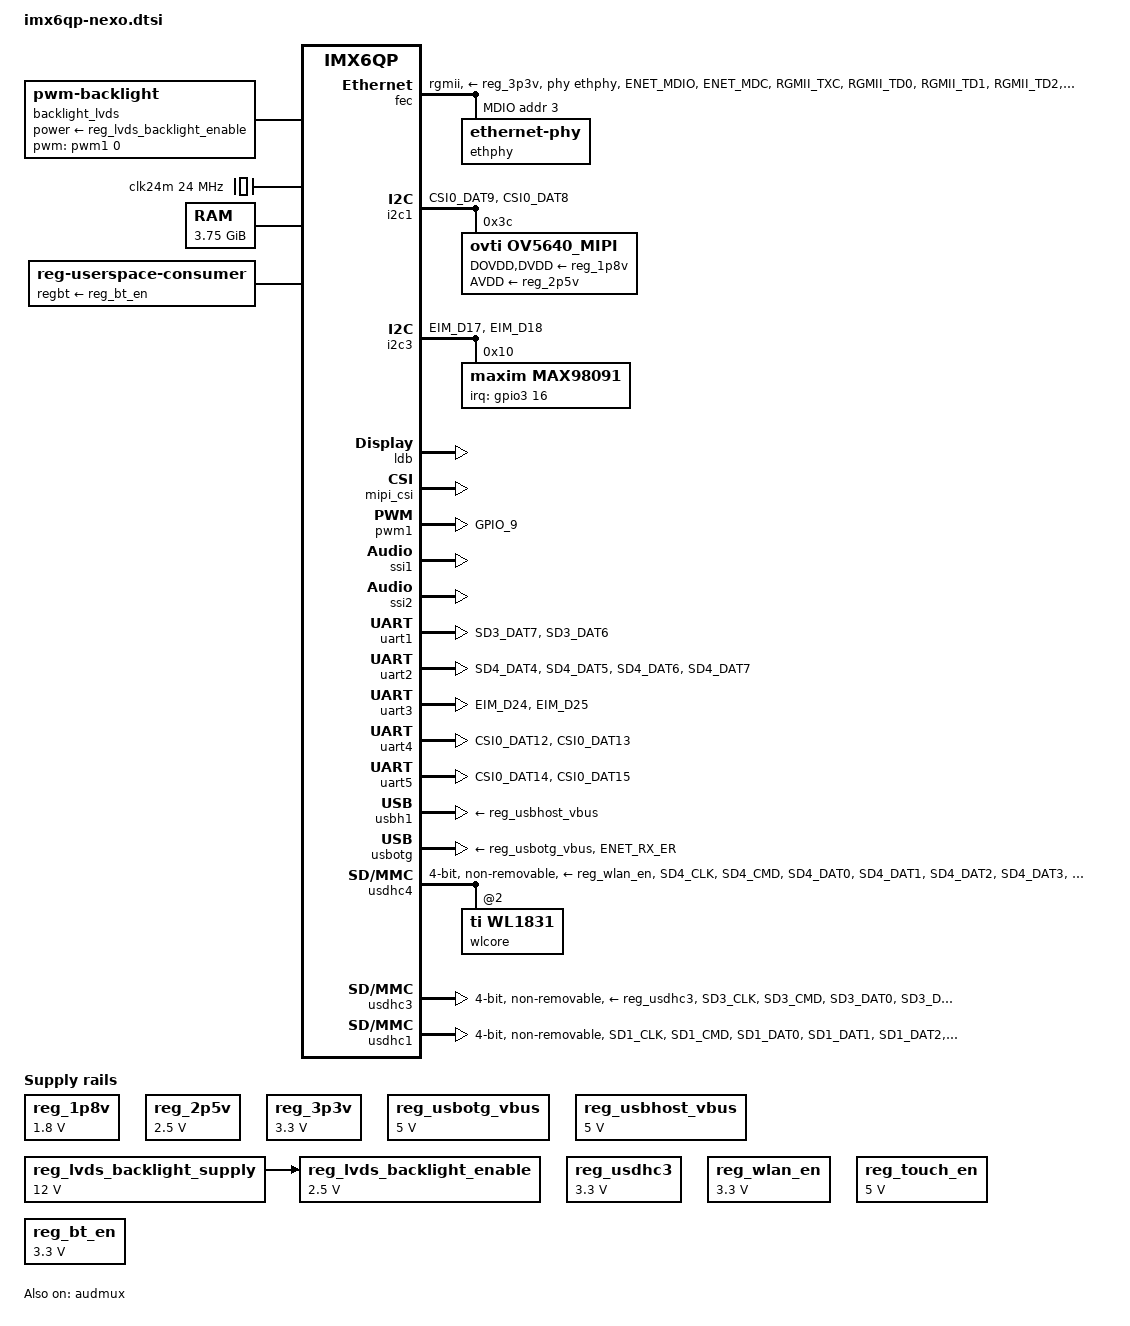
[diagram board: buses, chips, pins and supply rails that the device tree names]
/*
 * Copyright 2015 Boundary Devices, Inc.
 * Copyright 2012 Freescale Semiconductor, Inc.
 * Copyright 2011 Linaro Ltd.
 *
 * The code contained herein is licensed under the GNU General Public
 * License. You may obtain a copy of the GNU General Public License
 * Version 2 or later at the following locations:
 *
 * http://www.opensource.org/licenses/gpl-license.html
 * http://www.gnu.org/copyleft/gpl.html
 */
#include <dt-bindings/gpio/gpio.h>
#include <dt-bindings/input/input.h>

#define PAD_CTL_HYS                     (0x10000)

#define PAD_CTL_PUS_100K_DOWN           (0x00000)
#define PAD_CTL_PUS_47K_UP              (0x04000)
#define PAD_CTL_PUS_100K_UP             (0x08000)
#define PAD_CTL_PUS_22K_UP              (0x0C000)

#define PAD_CTL_PUE                     (0x02000)
#define PAD_CTL_PKE                     (0x01000)
#define PAD_CTL_ODE                     (0x00800)

#define PAD_CTL_SPEED_LOW               (0x00040)
#define PAD_CTL_SPEED_MED               (0x00080)
#define PAD_CTL_SPEED_HIGH              (0x000C0)

#define PAD_CTL_DSE_DISABLE             (0x00000)
#define PAD_CTL_DSE_240ohm              (0x00008)
#define PAD_CTL_DSE_120ohm              (0x00010)
#define PAD_CTL_DSE_80ohm               (0x00018)
#define PAD_CTL_DSE_60ohm               (0x00020)
#define PAD_CTL_DSE_48ohm               (0x00028)
#define PAD_CTL_DSE_40ohm               (0x00030)
#define PAD_CTL_DSE_34ohm               (0x00038)

#define PAD_CTL_SRE_FAST                (0x00001)
#define PAD_CTL_SRE_SLOW                (0x00000)


// 0x17059
#define PAD_MODE_LOWSPEED_47k \
(PAD_CTL_SRE_FAST | PAD_CTL_DSE_80ohm | PAD_CTL_SPEED_LOW | PAD_CTL_PKE | PAD_CTL_PUE | PAD_CTL_PUS_47K_UP | PAD_CTL_HYS)

// 0x170B9
#define PAD_MODE_MEDSPEED_47k \
(PAD_CTL_SRE_FAST | PAD_CTL_DSE_34ohm | PAD_CTL_SPEED_MED | PAD_CTL_PKE | PAD_CTL_PUE | PAD_CTL_PUS_47K_UP | PAD_CTL_HYS)

// 0x170F9
#define PAD_MODE_HIGHSPEED_47k \
(PAD_CTL_SRE_FAST | PAD_CTL_DSE_34ohm | PAD_CTL_SPEED_HIGH | PAD_CTL_PKE | PAD_CTL_PUE | PAD_CTL_PUS_47K_UP | PAD_CTL_HYS)

// 0x1b0b1
#define PAD_MODE_MEDSPEED_100k \
(PAD_CTL_SRE_FAST | PAD_CTL_DSE_40ohm | PAD_CTL_SPEED_MED | PAD_CTL_PKE | PAD_CTL_PUE | PAD_CTL_PUS_100K_UP | PAD_CTL_HYS)

// 0x1b0b0
#define PAD_MODE_MEDSPEED_100k_SLOW \
(PAD_CTL_SRE_SLOW | PAD_CTL_DSE_40ohm | PAD_CTL_SPEED_MED | PAD_CTL_PKE | PAD_CTL_PUE | PAD_CTL_PUS_100K_UP | PAD_CTL_HYS)

// 0x130b0
#define PAD_MODE_MEDSPEED_100kDOWN_SLOW \
(PAD_CTL_SRE_SLOW | PAD_CTL_DSE_40ohm | PAD_CTL_SPEED_MED | PAD_CTL_PKE | PAD_CTL_PUE | PAD_CTL_PUS_100K_DOWN | PAD_CTL_HYS)



// 0x10059
#define PAD_MODE_LOWSPEED \
(PAD_CTL_SRE_FAST | PAD_CTL_DSE_80ohm | PAD_CTL_SPEED_LOW | PAD_CTL_HYS)

// 0x100B9
#define PAD_MODE_MEDSPEED \
(PAD_CTL_SRE_FAST | PAD_CTL_DSE_34ohm | PAD_CTL_SPEED_MED | PAD_CTL_HYS)

// 0x100F9
#define PAD_MODE_HIGHSPEED \
(PAD_CTL_SRE_FAST | PAD_CTL_DSE_34ohm | PAD_CTL_SPEED_HIGH | PAD_CTL_HYS)



#define PAD_MODE_USDHC_50mhz_CLK   PAD_MODE_LOWSPEED
#define PAD_MODE_USDHC_50mhz       PAD_MODE_LOWSPEED_47k
#define PAD_MODE_USDHC_100mhz_CLK  PAD_MODE_MEDSPEED
#define PAD_MODE_USDHC_100mhz      PAD_MODE_MEDSPEED_47k
#define PAD_MODE_USDHC_200mhz_CLK  PAD_MODE_HIGHSPEED
#define PAD_MODE_USDHC_200mhz      PAD_MODE_HIGHSPEED_47k

#define PAD_MODE_UART              PAD_MODE_MEDSPEED_100k

&iomuxc {
	pinctrl-names = "default";
	pinctrl-0 = <&pinctrl_hog>;

	iomuxc_imx6q_nitrogen6_max: iomuxc-imx6q-nitrogen6-maxgrp {
		status = "okay";
	};
};

&iomuxc_imx6q_nitrogen6_max {
	pinctrl_audmux_i2s4: i2s4grp {
		fsl,pins = <
			MX6QDL_PAD_SD2_DAT3__AUD4_TXC		PAD_MODE_MEDSPEED_100kDOWN_SLOW
			MX6QDL_PAD_SD2_DAT2__AUD4_TXD		PAD_MODE_MEDSPEED_100k_SLOW
			MX6QDL_PAD_SD2_DAT1__AUD4_TXFS		PAD_MODE_MEDSPEED_100kDOWN_SLOW
			MX6QDL_PAD_SD2_DAT0__AUD4_RXD		PAD_MODE_MEDSPEED_100kDOWN_SLOW
		>;
	};

	pinctrl_i2c3_max98091: i2c3grp {
		fsl,pins = <
			MX6QDL_PAD_GPIO_0__CCM_CLKO1		(PAD_CTL_SRE_FAST | PAD_CTL_DSE_34ohm | PAD_CTL_SPEED_LOW)
		>;
	};

	pinctrl_bt_rfkill: bt-rfkillgrp {
		fsl,pins = <
#define GP_BT_RFKILL_RESET	<&gpio2 4 GPIO_ACTIVE_LOW>
			MX6QDL_PAD_NANDF_D4__GPIO2_IO04		PAD_MODE_MEDSPEED_100kDOWN_SLOW
		>;
	};

	pinctrl_enet: enetgrp {
		fsl,pins = <
			MX6QDL_PAD_ENET_MDIO__ENET_MDIO		PAD_MODE_MEDSPEED_100k_SLOW
			MX6QDL_PAD_ENET_MDC__ENET_MDC		PAD_MODE_MEDSPEED_100k_SLOW
			MX6QDL_PAD_RGMII_TXC__RGMII_TXC		PAD_MODE_MEDSPEED_100kDOWN_SLOW
			MX6QDL_PAD_RGMII_TD0__RGMII_TD0		PAD_MODE_MEDSPEED_100kDOWN_SLOW
			MX6QDL_PAD_RGMII_TD1__RGMII_TD1		PAD_MODE_MEDSPEED_100kDOWN_SLOW
			MX6QDL_PAD_RGMII_TD2__RGMII_TD2		PAD_MODE_MEDSPEED_100kDOWN_SLOW
			MX6QDL_PAD_RGMII_TD3__RGMII_TD3		PAD_MODE_MEDSPEED_100kDOWN_SLOW
			MX6QDL_PAD_RGMII_TX_CTL__RGMII_TX_CTL	PAD_MODE_MEDSPEED_100kDOWN_SLOW
			MX6QDL_PAD_ENET_REF_CLK__ENET_TX_CLK	PAD_MODE_MEDSPEED_100kDOWN_SLOW
			MX6QDL_PAD_RGMII_RXC__RGMII_RXC		PAD_MODE_MEDSPEED_100k_SLOW
			MX6QDL_PAD_RGMII_RD0__RGMII_RD0		PAD_MODE_MEDSPEED_100k_SLOW
			MX6QDL_PAD_RGMII_RD1__RGMII_RD1		PAD_MODE_MEDSPEED_100k_SLOW
			MX6QDL_PAD_RGMII_RD2__RGMII_RD2		PAD_MODE_MEDSPEED_100k_SLOW
			MX6QDL_PAD_RGMII_RD3__RGMII_RD3		PAD_MODE_MEDSPEED_100k_SLOW
			MX6QDL_PAD_RGMII_RX_CTL__RGMII_RX_CTL	PAD_MODE_MEDSPEED_100k_SLOW
#define GP_ENET_PHY_RESET	<&gpio1 25 GPIO_ACTIVE_LOW>
			MX6QDL_PAD_ENET_CRS_DV__GPIO1_IO25	PAD_MODE_MEDSPEED_100kDOWN_SLOW
#define GPIRQ_ENET_PHY		<&gpio1 28 IRQ_TYPE_LEVEL_LOW>
			MX6QDL_PAD_ENET_TX_EN__GPIO1_IO28	PAD_MODE_MEDSPEED_100k_SLOW
// #define GPIRQ_ENET		<&gpio1 6 IRQ_TYPE_LEVEL_HIGH>
// 			MX6QDL_PAD_GPIO_6__ENET_IRQ		0x000b1
		>;
	};

	pinctrl_i2c1: i2c1grp {
		fsl,pins = <
			MX6QDL_PAD_CSI0_DAT9__I2C1_SCL		0x4001b8b1
			MX6QDL_PAD_CSI0_DAT8__I2C1_SDA		0x4001b8b1
		>;
	};

	pinctrl_i2c1_gpio: i2c1_1grp {
		fsl,pins = <
#define GP_I2C1_SCL <&gpio5 27 GPIO_ACTIVE_HIGH>
			MX6QDL_PAD_CSI0_DAT9__GPIO5_IO27		0x4001b8b1
#define GP_I2C1_SDA <&gpio5 26 GPIO_ACTIVE_HIGH>
			MX6QDL_PAD_CSI0_DAT8__GPIO5_IO26		0x4001b8b1
		>;
	};

//	max98091_irq: max98091-irq {
//		fsl,pins  = <
//			MX6QDL_PAD_EIM_D16__I2C2_SDA		0x000b1 //0x1b0b0
//		>;
//	};

	pinctrl_i2c1_ov5640_gpio: i2c1-ov5640-gpiogrp {
		fsl,pins = <
#define GP_OV5640_MIPI_POWER_DOWN	<&gpio3 10 GPIO_ACTIVE_HIGH>
			MX6QDL_PAD_EIM_DA10__GPIO3_IO10		PAD_MODE_MEDSPEED_100k_SLOW
#define GP_OV5640_MIPI_RESET		<&gpio3 9 GPIO_ACTIVE_LOW>
			MX6QDL_PAD_EIM_DA9__GPIO3_IO09		PAD_MODE_MEDSPEED_100kDOWN_SLOW
		>;
	};

	pinctrl_i2c3: i2c3grp {
		fsl,pins = <
			MX6QDL_PAD_EIM_D17__I2C3_SCL		0x4001b8b1
			MX6QDL_PAD_EIM_D18__I2C3_SDA		0x4001b8b1
		>;
	};

	pinctrl_i2c3_gpio: i2c3_1grp {
		fsl,pins = <
#define GP_I2C3_SCL <&gpio3 17 GPIO_ACTIVE_HIGH>
			MX6QDL_PAD_EIM_D17__GPIO3_IO17		0x4001b8b1
#define GP_I2C3_SDA  <&gpio3 18 GPIO_ACTIVE_HIGH>
			MX6QDL_PAD_EIM_D18__GPIO3_IO18		0x4001b8b1
		>;
	};

	pinctrl_pwm1: pwm1grp {
		fsl,pins = <
			MX6QDL_PAD_GPIO_9__PWM1_OUT		PAD_MODE_MEDSPEED_100k
		>;
	};

	pinctrl_24mclk: 24mclk-clockgrp {
		fsl,pins = <
			MX6QDL_PAD_GPIO_3__XTALOSC_REF_CLK_24M		PAD_MODE_MEDSPEED_100k
		>;
	};

	pinctrl_reg_usbotg_vbus: reg-usbotg-vbusgrp {
		fsl,pins = <
#define GP_REG_USBOTG_ENABLE	<&gpio4 14 GPIO_ACTIVE_HIGH>
			MX6QDL_PAD_KEY_COL4__GPIO4_IO14		PAD_MODE_MEDSPEED_100kDOWN_SLOW
		>;
	};

	pinctrl_reg_usbhost_vbus: reg-usbotg-hostgrp {
		fsl,pins = <
#define GP_REG_USBHOST_ENABLE	<&gpio3 31 GPIO_ACTIVE_HIGH>
			MX6QDL_PAD_EIM_D31__GPIO3_IO31		PAD_MODE_MEDSPEED_100kDOWN_SLOW
		>;
	};

	pinctrl_reg_lvds_backlight_supply: reg-lvds-backlight_supplygrp {
		fsl,pins = <
#define GP_REG_LVDS_LED_SUPPLY	<&gpio2 31 GPIO_ACTIVE_HIGH>
			MX6QDL_PAD_EIM_EB3__GPIO2_IO31		PAD_MODE_MEDSPEED_100kDOWN_SLOW
		>;
	};

	pinctrl_reg_lvds_backlight_enable: reg-lvds-backlight_enablegrp {
		fsl,pins = <
#define GP_REG_LVDS_LED_ENABLE	<&gpio1 5 GPIO_ACTIVE_LOW>
			MX6QDL_PAD_GPIO_5__GPIO1_IO05		PAD_MODE_MEDSPEED_100kDOWN_SLOW
		>;
	};

	// this is the group that is always 'active'
	pinctrl_hog: hoggrp {
//		fsl,pins = <
//		>;
	};

	pinctrl_reg_sd3: reg-sd3-grp {
		fsl,pins = <
#define GP_SD3_RESET	<&gpio7 8 GPIO_ACTIVE_HIGH>
			MX6QDL_PAD_SD3_RST__GPIO7_IO08	PAD_MODE_MEDSPEED_100kDOWN_SLOW
		>;
	};

	pinctrl_reg_touch_en: reg-touch-grp {
		fsl,pins = <
#define GP_REG_TOUCH_EN	<&gpio4 26 GPIO_ACTIVE_LOW>
			MX6QDL_PAD_DISP0_DAT5__GPIO4_IO26	PAD_MODE_MEDSPEED_100kDOWN_SLOW
		>;
	};

	pinctrl_reg_wlan_en: reg-wlan-grp {
		fsl,pins = <
#define GP_REG_WLAN_EN	<&gpio6 8 GPIO_ACTIVE_HIGH>
			MX6QDL_PAD_NANDF_ALE__GPIO6_IO08	PAD_MODE_MEDSPEED_100kDOWN_SLOW
		>;
	};

	pinctrl_reg_bt_en: reg-bt-grp {
		fsl,pins = <
#define GP_REG_BT_EN	<&gpio2 5 GPIO_ACTIVE_HIGH>
			MX6QDL_PAD_NANDF_D5__GPIO2_IO05		PAD_MODE_MEDSPEED_100kDOWN_SLOW
		>;
	};

	pinctrl_uart1: uart1grp {
		fsl,pins = <
			MX6QDL_PAD_SD3_DAT7__UART1_TX_DATA	PAD_MODE_UART
			MX6QDL_PAD_SD3_DAT6__UART1_RX_DATA	PAD_MODE_UART
		>;
	};

	pinctrl_uart2: uart2grp {
		fsl,pins = <
			MX6QDL_PAD_SD4_DAT4__UART2_RX_DATA	PAD_MODE_UART
			MX6QDL_PAD_SD4_DAT5__UART2_RTS_B	PAD_MODE_UART
			MX6QDL_PAD_SD4_DAT6__UART2_CTS_B	PAD_MODE_UART
			MX6QDL_PAD_SD4_DAT7__UART2_TX_DATA	PAD_MODE_UART
		>;
	};

	pinctrl_uart3: uart3grp {
		fsl,pins = <
			MX6QDL_PAD_EIM_D24__UART3_TX_DATA	PAD_MODE_UART
			MX6QDL_PAD_EIM_D25__UART3_RX_DATA	PAD_MODE_UART
		>;
	};
	
	pinctrl_uart4: uart4grp {
		fsl,pins = <
			MX6QDL_PAD_CSI0_DAT12__UART4_TX_DATA	PAD_MODE_UART
			MX6QDL_PAD_CSI0_DAT13__UART4_RX_DATA	PAD_MODE_UART
		>;
	};

	pinctrl_uart5: uart5grp {
		fsl,pins = <
			MX6QDL_PAD_CSI0_DAT14__UART5_TX_DATA	PAD_MODE_UART
			MX6QDL_PAD_CSI0_DAT15__UART5_RX_DATA	PAD_MODE_UART
		>;
	};

	pinctrl_usbotg: usbotggrp {
		fsl,pins = <
			MX6QDL_PAD_ENET_RX_ER__USB_OTG_ID		PAD_MODE_LOWSPEED_47k
		>;
	};

	pinctrl_usdhc4_50mhz: usdhc4grp {
		fsl,pins = <
			MX6QDL_PAD_SD4_CLK__SD4_CLK		PAD_MODE_USDHC_50mhz_CLK
			MX6QDL_PAD_SD4_CMD__SD4_CMD		PAD_MODE_USDHC_50mhz
			MX6QDL_PAD_SD4_DAT0__SD4_DATA0		PAD_MODE_USDHC_50mhz
			MX6QDL_PAD_SD4_DAT1__SD4_DATA1		PAD_MODE_USDHC_50mhz
			MX6QDL_PAD_SD4_DAT2__SD4_DATA2		PAD_MODE_USDHC_50mhz
			MX6QDL_PAD_SD4_DAT3__SD4_DATA3		PAD_MODE_USDHC_50mhz

			MX6QDL_PAD_ENET_RXD0__OSC32K_32K_OUT	0x000b0		/* slow clock */
#define GPIRQ_CBM283	<&gpio2 0 IRQ_TYPE_LEVEL_HIGH>
			MX6QDL_PAD_NANDF_D0__GPIO2_IO00	0x100b0
		>;
	};

	pinctrl_usdhc4_100mhz: usdhc4grp-100mhz {
		fsl,pins = <
			MX6QDL_PAD_SD4_CLK__SD4_CLK		PAD_MODE_USDHC_100mhz_CLK
			MX6QDL_PAD_SD4_CMD__SD4_CMD		PAD_MODE_USDHC_100mhz
			MX6QDL_PAD_SD4_DAT0__SD4_DATA0		PAD_MODE_USDHC_100mhz
			MX6QDL_PAD_SD4_DAT1__SD4_DATA1 		PAD_MODE_USDHC_100mhz
			MX6QDL_PAD_SD4_DAT2__SD4_DATA2 		PAD_MODE_USDHC_100mhz
			MX6QDL_PAD_SD4_DAT3__SD4_DATA3 		PAD_MODE_USDHC_100mhz
		>;
	};

	pinctrl_usdhc4_200mhz: usdhc4grp-200mhz {
		fsl,pins = <
			MX6QDL_PAD_SD4_CLK__SD4_CLK		PAD_MODE_USDHC_200mhz_CLK
			MX6QDL_PAD_SD4_CMD__SD4_CMD		PAD_MODE_USDHC_200mhz
			MX6QDL_PAD_SD4_DAT0__SD4_DATA0		PAD_MODE_USDHC_200mhz
			MX6QDL_PAD_SD4_DAT1__SD4_DATA1		PAD_MODE_USDHC_200mhz
			MX6QDL_PAD_SD4_DAT2__SD4_DATA2		PAD_MODE_USDHC_200mhz
			MX6QDL_PAD_SD4_DAT3__SD4_DATA3		PAD_MODE_USDHC_200mhz
		>;
	};

	pinctrl_usdhc3_50mhz: usdhc3grp-50mhz {
		fsl,pins = <
			MX6QDL_PAD_SD3_CLK__SD3_CLK		PAD_MODE_USDHC_50mhz_CLK
			MX6QDL_PAD_SD3_CMD__SD3_CMD		PAD_MODE_USDHC_50mhz
			MX6QDL_PAD_SD3_DAT0__SD3_DATA0		PAD_MODE_USDHC_50mhz
			MX6QDL_PAD_SD3_DAT1__SD3_DATA1		PAD_MODE_USDHC_50mhz
			MX6QDL_PAD_SD3_DAT2__SD3_DATA2		PAD_MODE_USDHC_50mhz
			MX6QDL_PAD_SD3_DAT3__SD3_DATA3		PAD_MODE_USDHC_50mhz
			MX6QDL_PAD_NANDF_CS1__SD3_VSELECT	0x100b0		/* sd3 voltage select */
		>;
	};

	pinctrl_usdhc3_100mhz: usdhc3grp-100mhz {
		fsl,pins = <
			MX6QDL_PAD_SD3_CLK__SD3_CLK		PAD_MODE_USDHC_100mhz_CLK
			MX6QDL_PAD_SD3_CMD__SD3_CMD		PAD_MODE_USDHC_100mhz
			MX6QDL_PAD_SD3_DAT0__SD3_DATA0		PAD_MODE_USDHC_100mhz
			MX6QDL_PAD_SD3_DAT1__SD3_DATA1		PAD_MODE_USDHC_100mhz
			MX6QDL_PAD_SD3_DAT2__SD3_DATA2		PAD_MODE_USDHC_100mhz
			MX6QDL_PAD_SD3_DAT3__SD3_DATA3		PAD_MODE_USDHC_100mhz
		>;
	};

	pinctrl_usdhc3_200mhz: usdhc3grp-200mhz {
		fsl,pins = <
			MX6QDL_PAD_SD3_CLK__SD3_CLK		PAD_MODE_USDHC_200mhz_CLK
			MX6QDL_PAD_SD3_CMD__SD3_CMD		PAD_MODE_USDHC_200mhz
			MX6QDL_PAD_SD3_DAT0__SD3_DATA0		PAD_MODE_USDHC_200mhz
			MX6QDL_PAD_SD3_DAT1__SD3_DATA1		PAD_MODE_USDHC_200mhz
			MX6QDL_PAD_SD3_DAT2__SD3_DATA2		PAD_MODE_USDHC_200mhz
			MX6QDL_PAD_SD3_DAT3__SD3_DATA3		PAD_MODE_USDHC_200mhz
		>;
	};

	pinctrl_usdhc1_50mhz: usdhc1grp_50mhz {
		fsl,pins = <
			MX6QDL_PAD_SD1_CLK__SD1_CLK		PAD_MODE_USDHC_50mhz_CLK
			MX6QDL_PAD_SD1_CMD__SD1_CMD		PAD_MODE_USDHC_50mhz
			MX6QDL_PAD_SD1_DAT0__SD1_DATA0		PAD_MODE_USDHC_50mhz
			MX6QDL_PAD_SD1_DAT1__SD1_DATA1		PAD_MODE_USDHC_50mhz
			MX6QDL_PAD_SD1_DAT2__SD1_DATA2		PAD_MODE_USDHC_50mhz
			MX6QDL_PAD_SD1_DAT3__SD1_DATA3		PAD_MODE_USDHC_50mhz
			MX6QDL_PAD_KEY_COL1__SD1_VSELECT	0x100b0		/* sd1 voltage select */
		>;
	};
	
		pinctrl_usdhc1_100mhz: usdhc1grp-100mhz {
		fsl,pins = <
			MX6QDL_PAD_SD1_CLK__SD1_CLK		PAD_MODE_USDHC_100mhz_CLK
			MX6QDL_PAD_SD1_CMD__SD1_CMD		PAD_MODE_USDHC_100mhz
			MX6QDL_PAD_SD1_DAT0__SD1_DATA0		PAD_MODE_USDHC_100mhz
			MX6QDL_PAD_SD1_DAT1__SD1_DATA1		PAD_MODE_USDHC_100mhz
			MX6QDL_PAD_SD1_DAT2__SD1_DATA2		PAD_MODE_USDHC_100mhz
			MX6QDL_PAD_SD1_DAT3__SD1_DATA3		PAD_MODE_USDHC_100mhz
		>;
	};

	pinctrl_usdhc1_200mhz: usdhc1grp-200mhz {
		fsl,pins = <
			MX6QDL_PAD_SD1_CLK__SD1_CLK		PAD_MODE_USDHC_200mhz_CLK
			MX6QDL_PAD_SD1_CMD__SD1_CMD		PAD_MODE_USDHC_200mhz
			MX6QDL_PAD_SD1_DAT0__SD1_DATA0		PAD_MODE_USDHC_200mhz
			MX6QDL_PAD_SD1_DAT1__SD1_DATA1		PAD_MODE_USDHC_200mhz
			MX6QDL_PAD_SD1_DAT2__SD1_DATA2		PAD_MODE_USDHC_200mhz
			MX6QDL_PAD_SD1_DAT3__SD1_DATA3		PAD_MODE_USDHC_200mhz
		>;
	};
};

/ {
	aliases {
		backlight_lvds = &backlight_lvds;
		bt_rfkill = &bt_rfkill;
		bt_kim = &bt_kim;
		fb_lvds = &fb_lvds;
		fb_lvds2 = &fb_lvds2;
		ldb = &ldb;
		mmc0 = &usdhc3;
		mmc1 = &usdhc1;
 		mmc2 = &usdhc4;
		mxcfb1 = &fb_lvds;
		mxcfb3 = &fb_lvds2;
		pwm_lvds = &pwm1;
		t_lvds = &t_lvds;
		t_lvds2 = &t_lvds2;
	};

	backlight_lvds: backlight_lvds {
		compatible = "pwm-backlight";
		brightness-levels = <0 1 2 6 12 20 30 45 60 80 100 120 150 180 215 255>;
		default-brightness-level = <12>;
		display = <&fb_lvds>;
		pwms = <&pwm1 0 5000000>;
		power-supply = <&reg_lvds_backlight_enable>;
	};


	btwilink {
		compatible = "btwilink";
	};

	bt_kim: bt_kim {
		compatible = "kim";
		pinctrl-names = "default";
		pinctrl-0 = <&pinctrl_bt_rfkill>;
		nshutdown_gpio = GP_BT_RFKILL_RESET;
		dev_name = "/dev/ttymxc1";
		flow_cntrl = <1>;
		baud_rate = <3000000>;
		status = "okay";
	};

	bt_rfkill: bt_rfkill {
		compatible = "net,rfkill-gpio";
		pinctrl-names = "default";
		pinctrl-0 = <&pinctrl_bt_rfkill>;
		name = "bt_rfkill";
		type = <2>;	/* bluetooth */
		reset-gpios = GP_BT_RFKILL_RESET;
		status = "disabled";
	};

	caam_keyblob {
		compatible = "fsl,sec-v4.0-keyblob";
	};

	clocks {
		clk24m: clk24m {
			compatible = "fixed-clock";
			#clock-cells = <0>;
			clock-frequency = <24000000>;
		};
	};

	fake_poweroff {
		compatible = "fake-poweroff";
// gpio that will wake us up -- not sure if we have anything available... maybe proximity sensor?
// 		gpios = <&gpio2 3 GPIO_ACTIVE_LOW>;
		watchdog = <&wdog1>;
	};

	fb_lvds: fb@0 {
		compatible = "fsl,mxc_sdc_fb";
		disp_dev = "ldb";
		interface_pix_fmt = "RGB24";
		default_bpp = <24>;
		int_clk = <0>;
		late_init = <0>;
		status = "okay";
	};

	fb_lvds2: fb@2 {
		compatible = "fsl,mxc_sdc_fb";
		disp_dev = "ldb";
		interface_pix_fmt = "RGB24";
		default_bpp = <24>;
		int_clk = <0>;
		late_init = <0>;
		status = "disabled";
	};


// 	gpio-keys {
// 		compatible = "gpio-keys";
// 		pinctrl-names = "default";
// 		pinctrl-0 = <&pinctrl_gpio_keys>;
// 		power {
// 			label = "Power Button";
// 			gpios = GP_GPIOKEY_POWER;
// 			linux,code = <KEY_POWER>;	/* or KEY_SEARCH */
// 			gpio-key,wakeup;
// 		};
// 	};

	memory {
		reg = <0x10000000 0xeffffc00>;
	};

	ramoops_device {
		compatible = "fsl,mxc_ramoops";
		record_size = <524288>; /*512K*/
		console_size = <262144>; /*256K*/
		ftrace_size = <262144>;  /*256K*/
		dump_oops = <1>;
		status = "okay";
	};

	regulators {
		compatible = "simple-bus";
		#address-cells = <1>;
		#size-cells = <0>;

		reg_1p8v: regulator@0 {
			compatible = "regulator-fixed";
			reg = <0>;
			regulator-name = "1P8V";
			regulator-min-microvolt = <1800000>;
			regulator-max-microvolt = <1800000>;
			regulator-always-on;
		};

		reg_2p5v: regulator@1 {
			compatible = "regulator-fixed";
			reg = <1>;
			regulator-name = "2P5V";
			regulator-min-microvolt = <2500000>;
			regulator-max-microvolt = <2500000>;
			regulator-always-on;
		};

		reg_3p3v: regulator@2 {
			compatible = "regulator-fixed";
			reg = <2>;
			regulator-name = "3P3V";
			regulator-min-microvolt = <3300000>;
			regulator-max-microvolt = <3300000>;
			regulator-always-on;
		};

		reg_usbotg_vbus: regulator@3 {
			compatible = "regulator-fixed";
			reg = <3>;
			pinctrl-names = "default";
			pinctrl-0 = <&pinctrl_reg_usbotg_vbus>;
			regulator-name = "usb_otg_vbus";
			regulator-min-microvolt = <5000000>;
			regulator-max-microvolt = <5000000>;
			gpio = GP_REG_USBOTG_ENABLE;
			enable-active-high;
		};

		reg_usbhost_vbus: regulator@4 {
			compatible = "regulator-fixed";
			reg = <4>;
			pinctrl-names = "default";
			pinctrl-0 = <&pinctrl_reg_usbhost_vbus>;
			regulator-name = "usb_host_vbus";
			regulator-min-microvolt = <5000000>;
			regulator-max-microvolt = <5000000>;
			gpio = GP_REG_USBHOST_ENABLE;
			enable-active-high;
		};

		reg_lvds_backlight_supply: regulator@5 {
			compatible = "regulator-fixed";
			reg = <5>;
			pinctrl-names = "default";
			pinctrl-0 = <&pinctrl_reg_lvds_backlight_supply>;
			regulator-name = "lvds_backlight_supply";
			regulator-min-microvolt = <12000000>;
			regulator-max-microvolt = <12000000>;
			gpio = GP_REG_LVDS_LED_SUPPLY;
			enable-active-high;
			startup-delay-us = <1000000>;
		};

		reg_lvds_backlight_enable: regulator@6 {
			compatible = "regulator-fixed";
			reg = <6>;
			pinctrl-names = "default";
			pinctrl-0 = <&pinctrl_reg_lvds_backlight_enable>;
			regulator-name = "lvds_backlight_enable";
			regulator-min-microvolt = <2500000>;
			regulator-max-microvolt = <2500000>;
			gpio = GP_REG_LVDS_LED_ENABLE;
			enable-active-high;
			vin-supply = <&reg_lvds_backlight_supply>;
		};

		reg_usdhc3: regulator@7 {
			compatible = "regulator-fixed";
			reg = <7>;
			regulator-name = "usdhc3_regulator";
			regulator-min-microvolt = <3300000>;
			regulator-max-microvolt = <3300000>;
			enable-active-high;
			pinctrl-names = "default";
			pinctrl-0 = <&pinctrl_reg_sd3>;
			gpio = GP_SD3_RESET;
		};

		reg_wlan_en: regulator@8 {
			compatible = "regulator-fixed";
			reg = <8>;
			pinctrl-names = "default";
			pinctrl-0 = <&pinctrl_reg_wlan_en>;
			regulator-name = "wlan-en";
			regulator-min-microvolt = <3300000>;
			regulator-max-microvolt = <3300000>;
			gpio = GP_REG_WLAN_EN;
			startup-delay-us = <70000>;
			enable-active-high;
		};

		reg_touch_en: regulator@9 {
			compatible = "regulator-fixed";
			reg = <9>;
			pinctrl-names = "default";
			pinctrl-0 = <&pinctrl_reg_touch_en>;
			regulator-name = "touch-en";
			regulator-min-microvolt = <5000000>;
			regulator-max-microvolt = <5000000>;
			gpio = GP_REG_TOUCH_EN;
			regulator-always-on;
		};

		reg_bt_en: regulator@10 {
			compatible = "regulator-fixed";
			reg = <10>;
			pinctrl-names = "default";
			pinctrl-0 = <&pinctrl_reg_bt_en>;
			regulator-name = "bt-en";
			regulator-min-microvolt = <3300000>;
			regulator-max-microvolt = <3300000>;
			gpio = GP_REG_BT_EN;
			enable-active-high;
			regulator-always-on;
		};
	};

// dummy device for testing regulators
	userspace-consumer {
		compatible = "reg-userspace-consumer";
		regulator-name = "nazgee-consumer";
		regulator-supplies = "regbt";
		regulator-boot-on;
		status = "okay";

		regbt-supply = <&reg_bt_en>;
	};

	sound-asoc {
		compatible = "fsl,imx-audio-max98091";
		model = "max98091-audio";
		ssi-controller = <&ssi1>;
		audio-codec = <&max98091>;
		audio-routing =
			"Headphone Jack", "HP_OUT";
		mux-int-port = <1>;
		mux-ext-port = <4>;
	};

	v4l2_cap_0 {
		compatible = "fsl,imx6q-v4l2-capture";
		ipu_id = <0>;
		csi_id = <0>;
		mclk_source = <0>;
		status = "disabled";
	};

	v4l2_cap_1: v4l2_cap_1 {
		compatible = "fsl,imx6q-v4l2-capture";
		ipu_id = <0>;
		csi_id = <1>;
		mipi_camera = <1>;
		mclk_source = <0>;
		status = "okay";
	};

	v4l2_cap_2: v4l2_cap_2 {
		compatible = "fsl,imx6q-v4l2-capture";
		ipu_id = <0>;
		csi_id = <1>;
		mclk_source = <0>;
		status = "disabled";
	};

	v4l2_cap_3: v4l2_cap_3 {
		compatible = "fsl,imx6q-v4l2-capture";
		ipu_id = <0>;
		csi_id = <0>;
		mipi_camera = <1>;
		mclk_source = <0>;
		status = "disabled";
	};

	v4l2_out {
		compatible = "fsl,mxc_v4l2_output";
		status = "okay";
	};
};

&audmux {
	pinctrl-names = "default";
	pinctrl-0 = <&pinctrl_audmux_i2s4>;
	status = "okay";
};

&fec {
	status = "okay";
//	interrupts-extended = GPIRQ_ENET,
//		<&gpc 0 119 IRQ_TYPE_LEVEL_HIGH>;
	phy-handle = <&ethphy>;
	phy-mode = "rgmii";
	phy-supply = <&reg_3p3v>;
	// not sure why none of below works
//	phy-reset-gpios = GP_ENET_PHY_RESET;
//	phy-reset-duration = <100>;
//	local-mac-address = [00 04 9F 01 1B B9];
	pinctrl-names = "default";
	pinctrl-0 = <&pinctrl_enet>;

	mdio {
		#address-cells = <0>;
		#size-cells = <1>;

		ethphy: ethernet-phy@3 {
			reg = <3>;
			interrupts-extended = GPIRQ_ENET_PHY;
		};
	};
};

&i2c1 {
	pinctrl-names = "default", "gpio";
	pinctrl-0 = <&pinctrl_i2c1>;
	pinctrl-1 = <&pinctrl_i2c1_gpio>;
	scl-gpios = GP_I2C1_SCL;
	sda-gpios = GP_I2C1_SDA;
	status = "okay";

	ov5640_mipi: ov5640_mipi@3c {
		compatible = "ovti,ov5640_mipi";
		reg = <0x3c>;
		pinctrl-names = "default";
		pinctrl-0 = <&pinctrl_i2c1_ov5640_gpio &pinctrl_24mclk>;
		clocks = <&clk24m 0>;
		clock-names = "csi_mclk";
		DOVDD-supply = <&reg_1p8v>;
		AVDD-supply = <&reg_2p5v>;
		DVDD-supply = <&reg_1p8v>;
		pwn-gpios = GP_OV5640_MIPI_POWER_DOWN;
		rst-gpios = GP_OV5640_MIPI_RESET;
		ipu_id = <0>;
		csi_id = <1>;
		mclk = <24000000>;
		mclk_source = <0>;
	};
};

&i2c3 {
	pinctrl-names = "default";
	pinctrl-0 = <&pinctrl_i2c3>;
	pinctrl-1 = <&pinctrl_i2c3_gpio>;
	scl-gpios = GP_I2C3_SCL;
	sda-gpios = GP_I2C3_SDA;
	status = "okay";

	max98091: audio-codec@10 {
		compatible = "maxim,max98091";
		pinctrl-names = "default";
		pinctrl-0 = <&pinctrl_i2c3_max98091>;
		reg = <0x10>;
		interrupt-parent = <&gpio3>;
		interrupts = <16 GPIO_ACTIVE_LOW>;
		clocks = <&clks IMX6QDL_CLK_CKO>;
		clock-names = "mclk";
	};
};

&ldb {
	split-mode = <1>;
	status = "okay";

	lvds-channel@0 {
		crtc = "ipu1-di1";
		fsl,data-mapping = "spwg";
		fsl,data-width = <24>;
		status = "okay";
		primary;

		display-timings {
			t_lvds: t_lvds_default {
				clock-frequency = <148500148>;
				hactive = <1920>;
				vactive = <1080>;
				hback-porch = <148>;
				hfront-porch = <88>;
				vback-porch = <36>;
				vfront-porch = <4>;
				hsync-len = <44>;
				vsync-len = <5>;
			};
		};
	};

	lvds-channel@1 {
		crtc = "ipu1-di0";
		fsl,data-mapping = "spwg";
		fsl,data-width = <18>;
		status = "okay";

		display-timings {
			t_lvds2: t_lvds2_default {
				/* lg1280x800_2 values may be changed in bootscript */
				clock-frequency = <72000000>;
				hactive = <1280>;
				vactive = <800>;
				hback-porch = <48>;
				hfront-porch = <80>;
				vback-porch = <15>;
				vfront-porch = <2>;
				hsync-len = <32>;
				vsync-len = <6>;
			};
		};
	};
};

&mipi_csi {
	lanes = <2>;
	status = "okay";
};

&pwm1 {
	pinctrl-names = "default";
	pinctrl-0 = <&pinctrl_pwm1>;
	status = "okay";
};

&ssi1 {
	fsl,mode = "i2s-master";
	status = "okay";
};

&ssi2 {
	fsl,mode = "i2s-slave";
	status = "okay";
};

&uart1 {
	pinctrl-names = "default";
	pinctrl-0 = <&pinctrl_uart1>;
	status = "okay";
};

&uart2 {
	pinctrl-names = "default";
	pinctrl-0 = <&pinctrl_uart2>;
	fsl,uart-has-rtscts;
	status = "okay";
};

&uart3 {
	pinctrl-names = "default";
	pinctrl-0 = <&pinctrl_uart3>;
	status = "okay";
};

&uart4 {
	pinctrl-names = "default";
	pinctrl-0 = <&pinctrl_uart4>;
	status = "okay";
};

&uart5 {
	pinctrl-names = "default";
	pinctrl-0 = <&pinctrl_uart5>;
// 	control-gpios = GP_UART5_RX_EN, GP_UART5_TX_EN, GP_UART5_RS485_EN, GP_UART5_AON;
// #define M_RX_EN		1
// #define M_TX_EN		2
// #define M_RS485		4
// #define M_AON		8
// 	off_levels = <0>;
// 	rxact_mask = <0>;
// 	rxact_levels = <0>;
// 	rs232_levels = <M_RX_EN>;
// 	rs232_txen_mask = <0>;
// 	rs232_txen_levels = <0>;
// 	rs485_levels = <0xd>;
// 	rs485_txen_mask = <0x3>;
// 	rs485_txen_levels = <M_TX_EN>;
// 	uart-has-rs485-half-duplex;
// 	rs485-mode = <1>;	/* 1 to enable */
	status = "okay";
};

&usbh1 {
	vbus-supply = <&reg_usbhost_vbus>;
	// not sure how to enable OC, see ci-hdrc-imx.txt
	disable-over-current;
	status = "okay";
};

&usbotg {
	vbus-supply = <&reg_usbotg_vbus>;
	pinctrl-names = "default";
	pinctrl-0 = <&pinctrl_usbotg>;
	// not sure how to enable OC, see ci-hdrc-imx.txt
	disable-over-current;
	status = "okay";
};

&usdhc4 {	/* uSDHC4, CBM283IQ2B */
	pinctrl-names = "default", "state_100mhz", "state_200mhz";
	pinctrl-0 = <&pinctrl_usdhc4_50mhz>;
	pinctrl-1 = <&pinctrl_usdhc4_100mhz>;
	pinctrl-2 = <&pinctrl_usdhc4_200mhz>;
	bus-width = <4>;
	vmmc-supply = <&reg_wlan_en>;
	non-removable;
	vqmmc-1-8-v;
	cap-power-off-card;
	keep-power-in-suspend;
	status = "okay";

	#address-cells = <1>;
	#size-cells = <0>;
	wlcore: wlcore@2 {
// few of our boards have different modules - wl1831, wl1835 and wl1837
		compatible = "ti,wl1831";
		interrupts-extended = GPIRQ_CBM283;
		reg = <2>;
		ref-clock-frequency = <38400000>;
	};
};

&usdhc3 {
	pinctrl-names = "default", "state_100mhz", "state_200mhz", "sleep";
	pinctrl-0 = <&pinctrl_usdhc3_50mhz>;
	pinctrl-1 = <&pinctrl_usdhc3_100mhz>;
	pinctrl-2 = <&pinctrl_usdhc3_200mhz>;
	pinctrl-3 = <&pinctrl_usdhc3_50mhz>;
	bus-width = <4>;
 	vmmc-supply = <&reg_usdhc3>;
	non-removable;
	status = "okay";
};

&usdhc1 {
	pinctrl-names = "default", "state_100mhz", "state_200mhz", "sleep";
	pinctrl-0 = <&pinctrl_usdhc1_50mhz>;
	pinctrl-1 = <&pinctrl_usdhc1_100mhz>;
	pinctrl-2 = <&pinctrl_usdhc1_200mhz>;
	pinctrl-3 = <&pinctrl_usdhc1_50mhz>;
	bus-width = <4>;
//  	vmmc-supply = <&reg_usdhc1>;
	non-removable;
	status = "okay";
};
